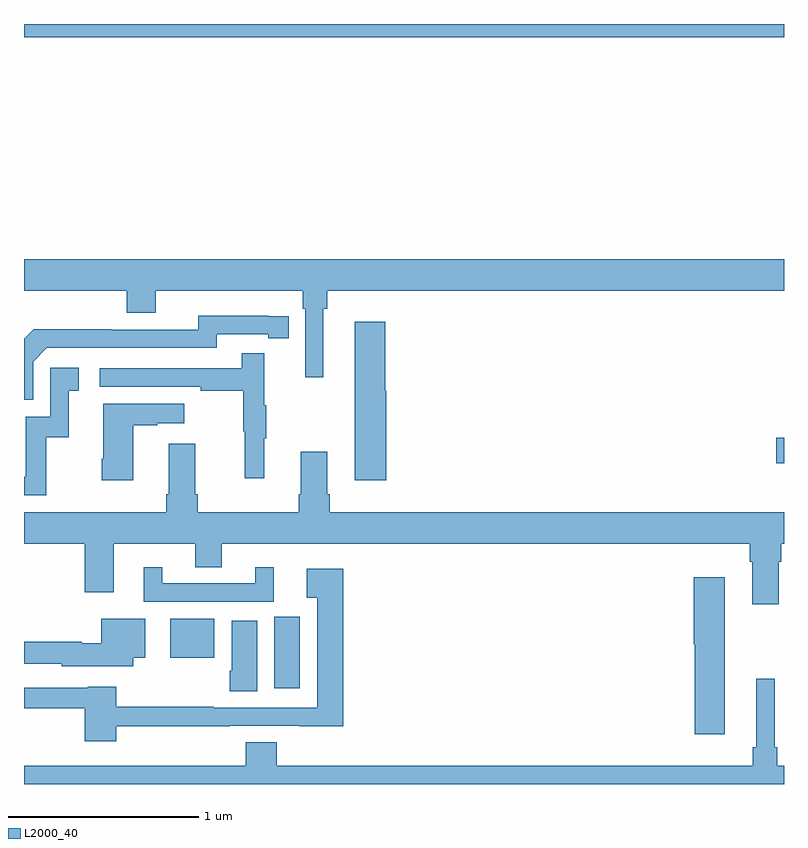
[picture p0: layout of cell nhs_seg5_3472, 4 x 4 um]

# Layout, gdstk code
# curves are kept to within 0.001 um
import gdstk
lib = gdstk.Library(unit=1e-6, precision=1e-09)
def R(c, l, rs):  # rectangles x0, y0, x1, y1
    for r in rs: c.add(gdstk.rectangle(r[:2], r[2:], *l))
def P(c, l, *ps):  # polygons
    for p in ps: c.add(gdstk.Polygon(p, *l))
L2000_40 = (2000, 40)

nhs_seg5_3472 = lib.new_cell('nhs_seg5_3472')
R(nhs_seg5_3472, L2000_40, [(316.316,885.303,316.45,885.678), (315.77,885.464,316,885.67), (318.96,886.487,319,886.622), (315,888.728,319,888.799)])
P(nhs_seg5_3472, L2000_40, [(316.576,887.3),(316.595,887.3),(316.595,887.396),(319,887.396),(319,887.56),(315,887.56),(315,887.396),(315.542,887.396),(315.542,887.279),(315.694,887.279),(315.694,887.396),(316.466,887.396),(316.466,887.3),(316.479,887.3),(316.479,886.941),(316.576,886.941)],
  [(315.048,887.022),(315.12,887.094),(316.014,887.094),(316.014,887.166),(316.286,887.166),(316.286,887.146),(316.394,887.146),(316.394,887.262),(315.918,887.263),(315.918,887.19),(315.458,887.19),(315.458,887.192),(315.05,887.192),(315,887.142),(315,886.821),(315.048,886.821)],
  [(316.906,886.869),(316.901,886.869),(316.901,887.233),(316.742,887.233),(316.742,886.398),(316.906,886.398)],
  [(316.265,886.619),(316.276,886.619),(316.276,886.793),(316.265,886.793),(316.265,887.065),(316.147,887.065),(316.147,886.986),(315.399,886.986),(315.399,886.89),(315.931,886.89),(315.931,886.87),(316.155,886.87),(316.155,886.656),(316.162,886.656),(316.162,886.407),(316.265,886.407)],
  [(315.118,886.623),(315.236,886.623),(315.236,886.869),(315.289,886.869),(315.289,886.99),(315.138,886.99),(315.138,886.731),(315.009,886.731),(315.009,886.416),(315,886.416),(315,886.32),(315.118,886.32)],
  [(315.574,886.687),(315.701,886.687),(315.701,886.697),(315.844,886.697),(315.844,886.801),(315.416,886.801),(315.416,886.51),(315.409,886.51),(315.409,886.398),(315.574,886.398)],
  [(315.902,885.94),(316.042,885.94),(316.042,886.064),(318.821,886.064),(318.821,885.968),(318.833,885.968),(318.833,885.744),(318.973,885.744),(318.973,885.968),(318.986,885.968),(318.986,886.064),(319,886.064),(319,886.228),(316.61,886.228),(316.61,886.324),(316.597,886.324),(316.597,886.549),(316.457,886.549),(316.457,886.324),(316.445,886.324),(316.445,886.228),(315.914,886.228),(315.914,886.324),(315.901,886.324),(315.901,886.591),(315.761,886.591),(315.761,886.324),(315.749,886.324),(315.749,886.228),(315,886.228),(315,886.064),(315.32,886.064),(315.32,885.807),(315.472,885.807),(315.472,886.064),(315.902,886.064)],
  [(316.315,885.94),(316.217,885.94),(316.217,885.855),(315.727,885.855),(315.727,885.94),(315.629,885.94),(315.629,885.759),(316.315,885.759)],
  [(315.485,885.104),(316.082,885.104),(316.082,885.105),(316.448,885.105),(316.448,885.104),(316.679,885.104),(316.679,885.931),(316.488,885.931),(316.488,885.779),(316.544,885.779),(316.544,885.201),(315.998,885.201),(315.998,885.206),(315.485,885.206),(315.485,885.31),(315.336,885.31),(315.336,885.306),(315,885.306),(315,885.198),(315.32,885.198),(315.32,885.024),(315.485,885.024)],
  [(318.688,885.886),(318.524,885.886),(318.524,885.534),(318.53,885.534),(318.53,885.06),(318.688,885.06)],
  [(315.574,885.464),(315.637,885.464),(315.637,885.67),(315.407,885.67),(315.407,885.541),(315.305,885.541),(315.305,885.548),(315,885.548),(315,885.432),(315.198,885.432),(315.198,885.419),(315.574,885.419)],
  [(316.228,885.658),(316.094,885.658),(316.094,885.394),(316.082,885.394),(316.082,885.286),(316.228,885.286)],
  [(319,884.896),(318.965,884.896),(318.965,884.992),(318.951,884.992),(318.951,885.352),(318.854,885.352),(318.854,884.992),(318.835,884.992),(318.835,884.896),(316.331,884.896),(316.331,885.02),(316.166,885.02),(316.166,884.896),(315,884.896),(315,884.799),(319,884.799)])

lib.write_gds('nhs_seg5_3472.gds')
